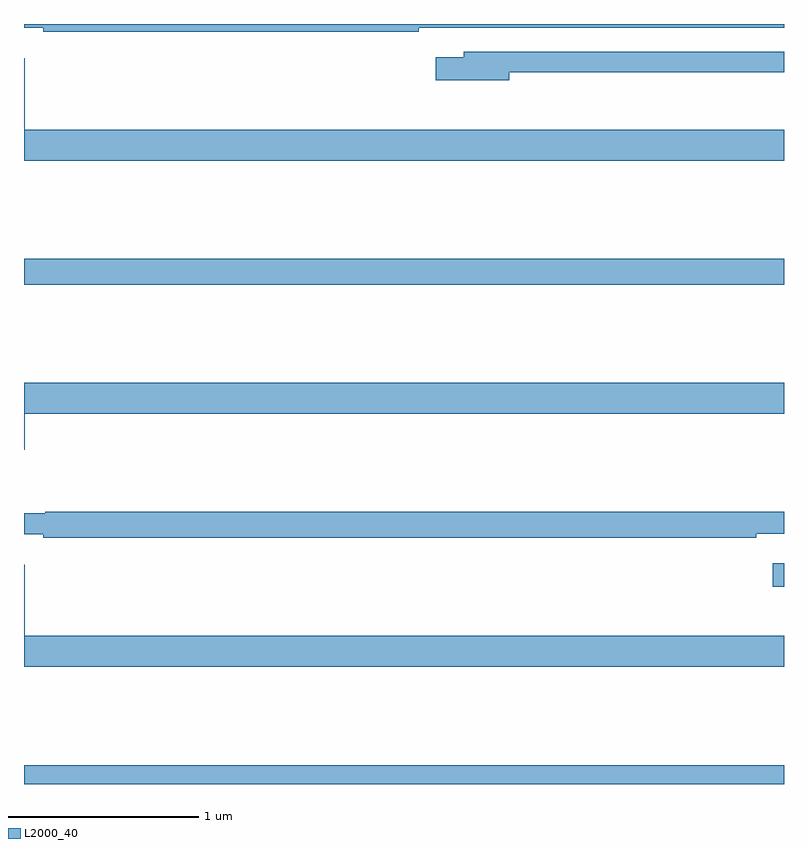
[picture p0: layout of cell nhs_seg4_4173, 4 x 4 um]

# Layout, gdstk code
import gdstk
lib = gdstk.Library(unit=1e-6, precision=1e-09)
def R(c, l, rs):  # rectangles x0, y0, x1, y1
    for r in rs: c.add(gdstk.rectangle(r[:2], r[2:], *l))
def P(c, l, *ps):  # polygons
    for p in ps: c.add(gdstk.Polygon(p, *l))
L2000_40 = (2000, 40)

nhs_seg4_4173 = lib.new_cell('nhs_seg4_4173')
R(nhs_seg4_4173, L2000_40, [(333,766.9,337,767), (336.942,767.939,337,768.061), (333,769.528,337,769.664)])
P(nhs_seg4_4173, L2000_40, [(335.078,770.88),(337,770.88),(337,770.9),(333,770.9),(333,770.879),(333.1,770.879),(333.1,770.86),(335.078,770.86)],
  [(335.554,770.646),(337,770.646),(337,770.754),(335.315,770.754),(335.315,770.725),(335.166,770.725),(335.166,770.603),(335.554,770.603)],
  [(337,770.344),(333.004,770.344),(333.004,770.719),(333,770.719),(333,770.18),(337,770.18)],
  [(333.004,768.848),(337,768.848),(337,769.012),(333,769.012),(333,768.66),(333.004,768.66)],
  [(336.854,768.216),(337,768.216),(337,768.332),(333.113,768.332),(333.113,768.325),(333,768.325),(333,768.215),(333.1,768.215),(333.1,768.196),(336.854,768.196)],
  [(337,767.68),(333.004,767.68),(333.004,768.055),(333,768.055),(333,767.516),(337,767.516)])

lib.write_gds('nhs_seg4_4173.gds')
